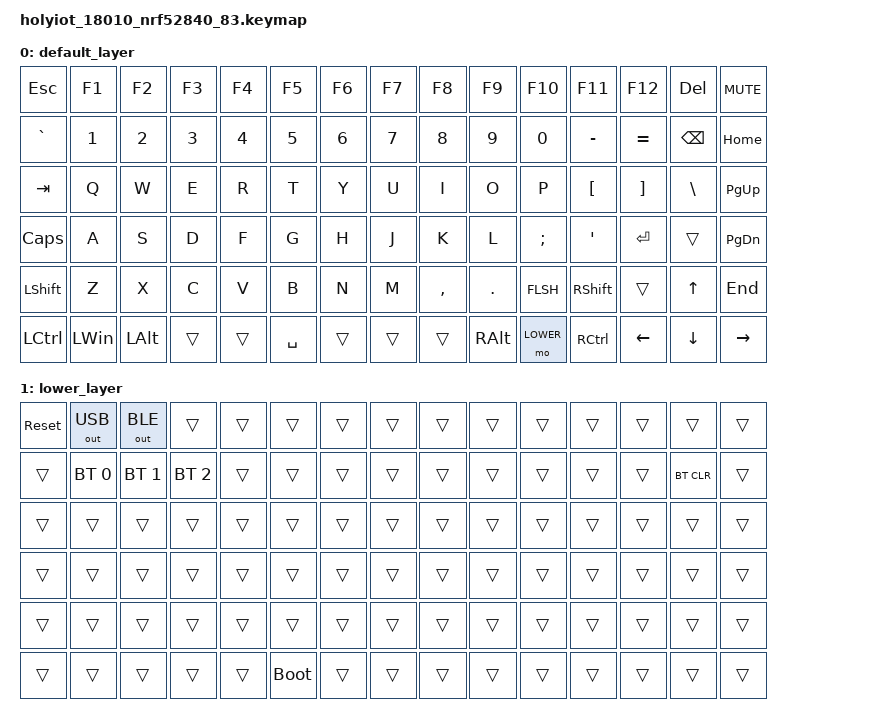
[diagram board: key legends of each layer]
#include <behaviors.dtsi>
#include <dt-bindings/zmk/keys.h>
#include <dt-bindings/zmk/bt.h>
#include <dt-bindings/zmk/outputs.h>
#include <dt-bindings/zmk/ext_power.h>

#define DEFAULT 0
#define LOWER   1

/ {
    keymap {
        compatible = "zmk,keymap";

        // --------------------------------------------------------------------------------------------------------------------------------------------------------
        // |   ESC   |    F1   |    F2   |    F3   |    F4   |    F5   |    F6   |    F7   |    F8   |    F9   |    F10  |    F11  |    F12  |    DEL  |   MUTE  |   
        // |  GRAVE  |    1    |    2    |    3    |    4    |    5    |    6    |    7    |    8    |    9    |    0    |  MINUS- |  EQUAL= |   BSPC  |   HOME  |
        // |   TAB   |    Q    |    W    |    E    |    R    |    T    |    Y    |    U    |    I    |    O    |    P    |   LBKT[ |  RBKT]  |  BSLH\  |  PG_UP  |
        // |  CAPS   |    A    |    S    |    D    |    F    |    G    |    H    |    J    |    K    |    L    |  SEMI;  |  SQT'   |   RET   |         |  PG_DN  |
        // | LSHIFT  |    Z    |    X    |    C    |    V    |    B    |    N    |    M    | COMMA,  |   DOT.  |  FLSH/  |  RSHIFT |         |    UP   |   END   |
        // |  LCTRL  |  LWIN   |   LALT  |         |         |  SPACE  |         |         |         |   RALT  |  mo1    |   RCTL  |   LEFT  |   DOWN  |  RIGHT  |
        default_layer {
            bindings = <
                &kp ESC     &kp F1      &kp F2      &kp F3      &kp F4      &kp F5      &kp F6      &kp F7     &kp F8       &kp F9      &kp F10     &kp F11     &kp F12     &kp DEL     &kp C_MUTE
                &kp GRAVE   &kp 1       &kp 2       &kp 3       &kp 4       &kp 5       &kp 6       &kp 7      &kp 8        &kp 9       &kp 0       &kp MINUS   &kp EQUAL   &kp BSPC    &kp HOME
                &kp TAB     &kp Q       &kp W       &kp E       &kp R       &kp T       &kp Y       &kp U      &kp I        &kp O       &kp P       &kp LBKT    &kp RBKT    &kp BSLH    &kp PG_UP
                &kp CAPS    &kp A       &kp S       &kp D       &kp F       &kp G       &kp H       &kp J      &kp K        &kp L       &kp SEMI    &kp SQT     &kp RET     &trans      &kp PG_DN
                &kp LSHIFT  &kp Z       &kp X       &kp C       &kp V       &kp B       &kp N       &kp M      &kp COMMA    &kp DOT     &kp FLSH    &kp RSHIFT  &trans      &kp UP      &kp END
                &kp LCTRL   &kp LWIN    &kp LALT    &trans      &trans      &kp SPACE   &trans      &trans     &trans       &kp RALT    &mo LOWER   &kp RCTL    &kp LEFT    &kp DOWN    &kp RIGHT
                >;
        };

        // ----------------------------------------------------------------------------------------------------------
        // |  RESET | USB   |  BLE  |       |     |     |     |     |     |     |     |     |       |       |       |   
        // |        | BLE0  |  BLE1 | BLE2  |     |     |     |     |     |     |     |     |       |CLR BLE|       |
        // |        |       |       |       |     |     |     |     |     |     |     |     |       |       |       |
        // |        |       |       |       |     |     |     |     |     |     |     |     |       |       |       |
        // |        |       |       |       |     |     |     |     |     |     |     |     |       |       |       |
        // |        |       |       |       |     | BOOT|     |     |     |     |     |     |       |       |       |
        lower_layer {
            bindings = <
                &sys_reset  &out OUT_USB    &out OUT_BLE    &trans          &trans  &trans      &trans  &trans  &trans  &trans  &trans  &trans  &trans  &trans      &trans
                &trans      &bt BT_SEL 0    &bt BT_SEL 1    &bt BT_SEL 2    &trans  &trans      &trans  &trans  &trans  &trans  &trans  &trans  &trans  &bt BT_CLR  &trans
                &trans      &trans          &trans          &trans          &trans  &trans      &trans  &trans  &trans  &trans  &trans  &trans  &trans  &trans      &trans
                &trans      &trans          &trans          &trans          &trans  &trans      &trans  &trans  &trans  &trans  &trans  &trans  &trans  &trans      &trans
                &trans      &trans          &trans          &trans          &trans  &trans      &trans  &trans  &trans  &trans  &trans  &trans  &trans  &trans      &trans
                &trans      &trans          &trans          &trans          &trans  &bootloader &trans  &trans  &trans  &trans  &trans  &trans  &trans  &trans      &trans
                >;
        };
    };
};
